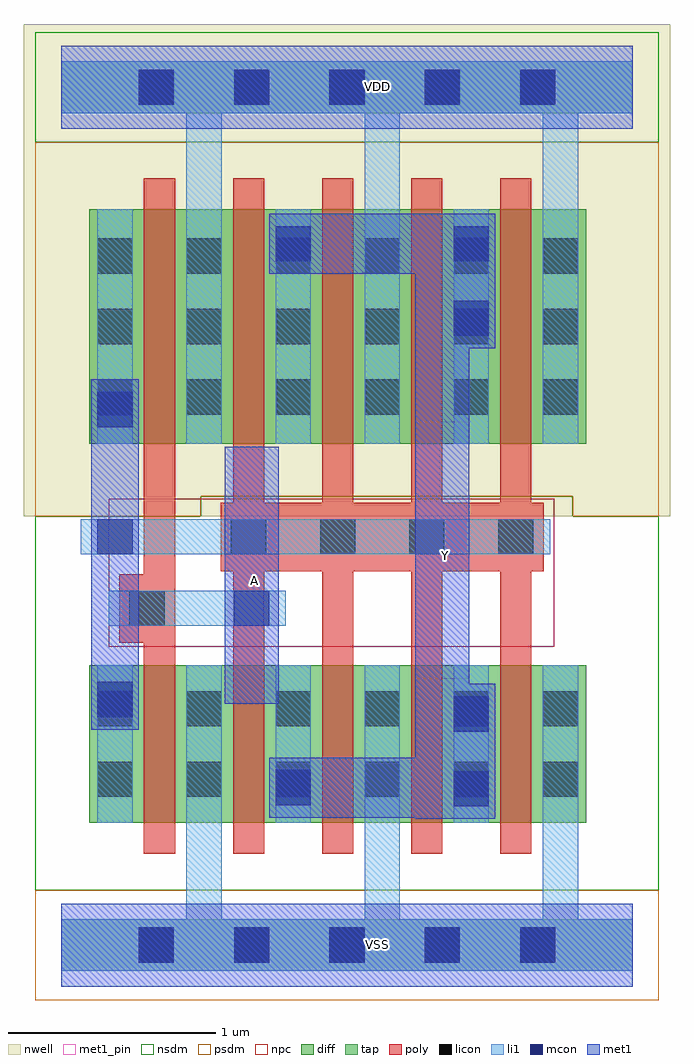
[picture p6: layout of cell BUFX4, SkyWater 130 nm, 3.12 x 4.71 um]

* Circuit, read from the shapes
.subckt BUFX4 A VDD VSS Y
XM1 VSS A n1 VSS sky130_fd_pr__nfet_01v8 w=0.76 l=0.15
XM2 Y n1 VSS VSS sky130_fd_pr__nfet_01v8 w=0.76 l=0.15 m=4
XM3 VDD A n1 VDD sky130_fd_pr__pfet_01v8 w=1.13 l=0.15
XM4 Y n1 VDD VDD sky130_fd_pr__pfet_01v8 w=1.13 l=0.15 m=4
.ends

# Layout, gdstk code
import gdstk
lib = gdstk.Library(unit=1e-6, precision=1e-09)
def R(c, l, rs):  # rectangles x0, y0, x1, y1
    for r in rs: c.add(gdstk.rectangle(r[:2], r[2:], *l))
def A(c, l, x, y, w, h, nx, ny, dx, dy):  # array of equal rectangles
    R(c, l, [(x+i*dx, y+j*dy, x+i*dx+w, y+j*dy+h) for i in range(nx) for j in range(ny)])
def P(c, l, *ps):  # polygons
    for p in ps: c.add(gdstk.Polygon(p, *l))
nwell = (64, 20)
diff = (65, 20)
tap = (65, 44)
poly = (66, 20)
licon = (66, 44)
li1 = (67, 20)
mcon = (67, 44)
met1_pin = (68, 16)
met1 = (68, 20)
nsdm = (93, 44)
psdm = (94, 20)
npc = (95, 20)

l1m1_c__12 = lib.new_cell('L1M1_C$$12')
R(l1m1_c__12, li1, [(-0.085,-0.345,0.085,0.345)])
R(l1m1_c__12, mcon, [(-0.085,-0.265,0.085,-0.095), (-0.085,0.095,0.085,0.265)])
R(l1m1_c__12, met1, [(-0.115,-0.325,0.115,0.325)])

pyl1con_c__13 = lib.new_cell('PYL1CON_C$$13')
R(pyl1con_c__13, poly, [(-0.135,-0.165,0.135,0.165)])
R(pyl1con_c__13, licon, [(-0.085,-0.085,0.085,0.085)])
R(pyl1con_c__13, npc, [(-0.185,-0.185,0.185,0.185)])

l1m1_c__16 = lib.new_cell('L1M1_C$$16')
R(l1m1_c__16, li1, [(-0.085,-0.165,0.085,0.165)])
R(l1m1_c__16, mcon, [(-0.085,-0.085,0.085,0.085)])
R(l1m1_c__16, met1, [(-0.115,-0.145,0.115,0.145)])

l1m1_c__15 = lib.new_cell('L1M1_C$$15')
R(l1m1_c__15, li1, [(-0.165,-0.085,0.165,0.085)])
R(l1m1_c__15, mcon, [(-0.085,-0.085,0.085,0.085)])
R(l1m1_c__15, met1, [(-0.115,-0.145,0.115,0.145)])

bufx4 = lib.new_cell('BUFX4')
R(bufx4, nwell, [(-0.18,2.07,2.94,4.445)])
R(bufx4, diff, [(0.135,0.59,2.535,1.35), (0.135,2.42,2.535,3.55)])
R(bufx4, poly, [(0.4,0.44,0.55,3.7)])
P(bufx4, poly, [(2.33,2.135),(2.27,2.135),(2.27,3.7),(2.12,3.7),(2.12,2.135),(1.84,2.135),(1.84,3.7),(1.69,3.7),(1.69,2.135),(1.41,2.135),(1.41,3.7),(1.26,3.7),(1.26,2.135),(0.98,2.135),(0.98,3.7),(0.83,3.7),(0.83,2.135),(0.77,2.135),(0.77,1.805),(0.83,1.805),(0.83,0.44),(0.98,0.44),(0.98,1.805),(1.26,1.805),(1.26,0.44),(1.41,0.44),(1.41,1.805),(1.69,1.805),(1.69,0.44),(1.84,0.44),(1.84,1.805),(2.12,1.805),(2.12,0.44),(2.27,0.44),(2.27,1.805),(2.33,1.805)])
A(bufx4, licon, 0.375, -0.085, 0.17, 0.17, 5, 2, 0.46, 4.14)
A(bufx4, licon, 0.175, 0.715, 0.17, 0.17, 6, 2, 0.43, 0.34)
A(bufx4, licon, 0.175, 2.56, 0.17, 0.17, 6, 3, 0.43, 0.34)
A(bufx4, li1, 0.175, 0.59, 0.17, 0.76, 3, 1, 0.86, 0)
A(bufx4, li1, 0.175, 2.42, 0.17, 1.13, 3, 1, 0.86, 0)
P(bufx4, li1, [(2.76,0.125),(2.495,0.125),(2.495,1.35),(2.325,1.35),(2.325,0.125),(1.635,0.125),(1.635,1.35),(1.465,1.35),(1.465,0.125),(0.775,0.125),(0.775,1.35),(0.605,1.35),(0.605,0.125),(0,0.125),(0,-0.125),(2.76,-0.125)],
  [(2.76,4.265),(0,4.265),(0,4.015),(0.605,4.015),(0.605,2.42),(0.775,2.42),(0.775,4.015),(1.465,4.015),(1.465,2.42),(1.635,2.42),(1.635,4.015),(2.325,4.015),(2.325,2.42),(2.495,2.42),(2.495,4.015),(2.76,4.015)])
A(bufx4, mcon, 0.375, -0.085, 0.17, 0.17, 5, 2, 0.46, 4.14)
R(bufx4, met1_pin, [(0.79,1.165,1.05,2.405), (1.71,1.285,1.97,2.525)])
P(bufx4, met1, [(1.97,3.53),(1.12,3.53),(1.12,3.24),(1.71,3.24),(1.71,0.905),(1.12,0.905),(1.12,0.615),(1.71,0.615),(1.71,0.61),(1.97,0.61)])
R(bufx4, nsdm, [(-0.125,3.875,2.885,4.405)])
P(bufx4, nsdm, [(2.885,2.07),(2.47,2.07),(2.47,2.165),(0.675,2.165),(0.675,2.07),(-0.125,2.07),(-0.125,0.265),(2.885,0.265)])
R(bufx4, psdm, [(-0.125,-0.265,2.885,0.265)])
P(bufx4, psdm, [(2.885,3.875),(-0.125,3.875),(-0.125,2.07),(0.675,2.07),(0.675,2.165),(2.47,2.165),(2.47,2.07),(2.885,2.07)])
R(bufx4, npc, [(0.23,1.44,2.38,2.155)])
bufx4.add(gdstk.FlexPath([(0.26,1.97),(2.36,1.97)], 0.17, ends="flush", simple_path=True, layer=67, datatype=20))  # li1
bufx4.add(gdstk.FlexPath([(0.855,1.625),(0.23,1.625)], 0.17, ends="flush", simple_path=True, layer=67, datatype=20))  # li1
bufx4.add(gdstk.FlexPath([(0,4.14),(2.76,4.14)], 0.4, ends="flush", simple_path=True, layer=68, datatype=16))  # met1_pin
bufx4.add(gdstk.FlexPath([(0,0),(2.76,0)], 0.4, ends="flush", simple_path=True, layer=68, datatype=16))  # met1_pin
bufx4.add(gdstk.FlexPath([(0,4.14),(2.76,4.14)], 0.4, ends="flush", simple_path=True, layer=68, datatype=20))  # met1
bufx4.add(gdstk.FlexPath([(0.92,1.165),(0.92,2.405)], 0.26, ends="flush", simple_path=True, layer=68, datatype=20))  # met1
bufx4.add(gdstk.FlexPath([(0,0),(2.76,0)], 0.4, ends="flush", simple_path=True, layer=68, datatype=20))  # met1
bufx4.add(gdstk.FlexPath([(0.26,1.185),(0.26,2.73)], 0.23, ends=(0.115, 0), simple_path=True, layer=68, datatype=20))  # met1
bufx4.add(gdstk.FlexPath([(0,4.14),(2.76,4.14)], 0.25, ends="flush", simple_path=True, layer=65, datatype=44))  # tap
bufx4.add(gdstk.FlexPath([(0,0),(2.76,0)], 0.25, ends="flush", simple_path=True, layer=65, datatype=44))  # tap
bufx4.add(gdstk.Reference(l1m1_c__12, (1.98,0.935)))
bufx4.add(gdstk.Reference(l1m1_c__12, (1.98,3.205)))
bufx4.add(gdstk.Reference(pyl1con_c__13, (2.195,1.97), x_reflection=True))
bufx4.add(gdstk.Reference(pyl1con_c__13, (1.765,1.97), x_reflection=True))
bufx4.add(gdstk.Reference(pyl1con_c__13, (0.415,1.625), x_reflection=True))
bufx4.add(gdstk.Reference(pyl1con_c__13, (0.905,1.97), x_reflection=True))
bufx4.add(gdstk.Reference(pyl1con_c__13, (1.335,1.97), x_reflection=True))
bufx4.add(gdstk.Reference(l1m1_c__16, (1.12,3.385)))
bufx4.add(gdstk.Reference(l1m1_c__16, (1.12,0.76)))
bufx4.add(gdstk.Reference(l1m1_c__16, (0.26,2.585)))
bufx4.add(gdstk.Reference(l1m1_c__16, (0.26,1.185)))
bufx4.add(gdstk.Reference(l1m1_c__15, (0.26,1.97)))
bufx4.add(gdstk.Reference(l1m1_c__15, (0.92,1.625), x_reflection=True))
bufx4.add(gdstk.Label('VDD', (1.525,4.145), layer=68, texttype=5))
bufx4.add(gdstk.Label('A', (0.935,1.76), layer=68, texttype=5))
bufx4.add(gdstk.Label('Y', (1.855,1.88), layer=68, texttype=5))
bufx4.add(gdstk.Label('VSS', (1.525,0.005), layer=68, texttype=5))

lib.write_gds('BUFX4.gds')
